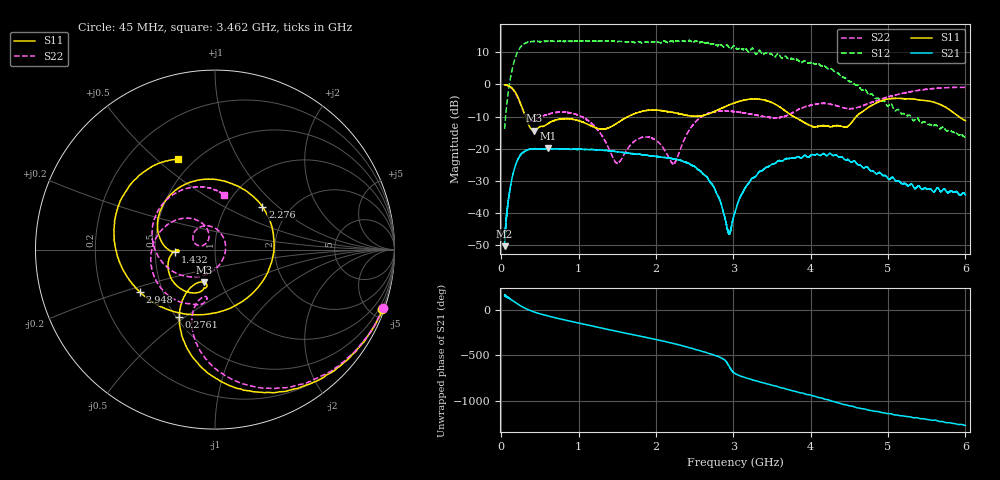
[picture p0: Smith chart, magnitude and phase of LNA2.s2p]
!Agilent Technologies,E8364A,US41440144,A.06.04.32
!Agilent E8364A: A.06.04.32
!Date: Thursday, November 08, 2018 14:19:44
!Correction: S11(Full 2 Port(1,2)) S21(Full 2 Port(1,2)) S12(Full 2 Port(1,2)) S22(Full 2 Port(1,2))
!S2P File: Measurements: S11, S21, S12, S22:
# Hz S  dB  R 50
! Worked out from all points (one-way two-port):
!   16001 points, 45 MHz to 6 GHz, reference 50 ohm
!   highest |S21| = -19.94 dB at 606.6 MHz (marker M1); lowest = -50.4 dB at 45 MHz (marker M2)
!   lowest |S11| = -14.3 dB at 422 MHz (marker M3), VSWR 1.47, Z = 41.7 - j15.8 ohm
!   |S11| at or under -10 dB: 313.2 MHz to 1.641 GHz (1.328 GHz wide, 136 % of centre); 3.78 GHz to 4.589 GHz (809.2 MHz wide, 19.3 % of centre); 5.915 GHz to end of sweep
!   |S22| runs from -24.7 to -0.1 dB; largest |S21 - S12| = 4.9
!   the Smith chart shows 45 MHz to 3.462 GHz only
!   S11 on the Smith chart (normalised r, x): 45 MHz: 0.18, -5.77; 276.1 MHz: 0.52, -0.47; 1.432 GHz: 0.63, -0.02; 2.276 GHz: 1.46, +0.80; 2.948 GHz: 0.37, -0.23; 3.462 GHz: 0.41, +0.59
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4.5e7  -0.09 -19.6  -50.36 159.9  -13.86 -51.9  -0.09 -19.3
1.473516e8  -1.29 -67.6  -28.44 102.6  5.24 -90.6  -1.45 -65.8
2.761284e8  -7.45 -118.1  -21.29 32.7  12.30 -159.0  -7.72 -108.3
4.220259e8  -14.35 -108.1  -20.05 -21.3  13.42 146.0  -11.25 -99.5
6.066309e8  -12.17 -108.6  -19.94 -67.0  13.46 98.0  -9.26 -119.9
7.860253e8  -10.71 -133.3  -20.09 -104.0  13.46 57.5  -8.62 -152.0
1.037624e9  -11.57 -167.3  -20.18 -151.7  13.50 5.6  -10.00 159.8
1.432143e9  -13.01 -176.3  -20.73 135.3  13.55 -75.3  -22.11 115.5
1.782743e9  -8.62 146.8  -21.73 73.2  13.33 -144.4  -16.85 148.2
2.030248e9  -8.03 99.8  -22.46 28.2  13.19 167.7  -17.95 96.2
2.276264e9  -8.98 42.0  -23.42 -20.7  13.60 118.5  -22.80 -55.9
2.43891e9  -9.78 -8.7  -24.77 -58.2  13.63 82.3  -13.88 -131.2
2.672272e9  -9.26 -83.7  -29.29 -116.5  13.04 31.9  -9.03 171.1
2.948062e9  -6.36 -150.6  -46.43 96.8  11.42 -29.1  -8.32 125.0
3.0225e9  -5.69 -165.9  -39.73 19.3  11.67 -44.0  -8.50 115.3
3.244696e9  -4.52 151.0  -29.19 -50.2  11.32 -87.6  -9.33 93.6
3.462426e9  -5.28 112.2  -25.46 -100.5  9.53 -131.7  -10.25 80.1
3.681272e9  -8.39 84.4  -23.10 -150.8  8.71 -179.0  -9.77 73.9
4.015124e9  -13.01 80.4  -21.83 137.2  6.82 112.5  -6.42 30.2
4.355303e9  -12.83 88.2  -22.49 54.6  3.49 31.5  -6.74 -72.4
5.007748e9  -4.52 61.9  -29.50 -63.4  -6.66 -80.5  -3.84 101.9
6e9  -11.28 -24.7  -34.43 167.5  -16.51 142.3  -0.90 -12.9
